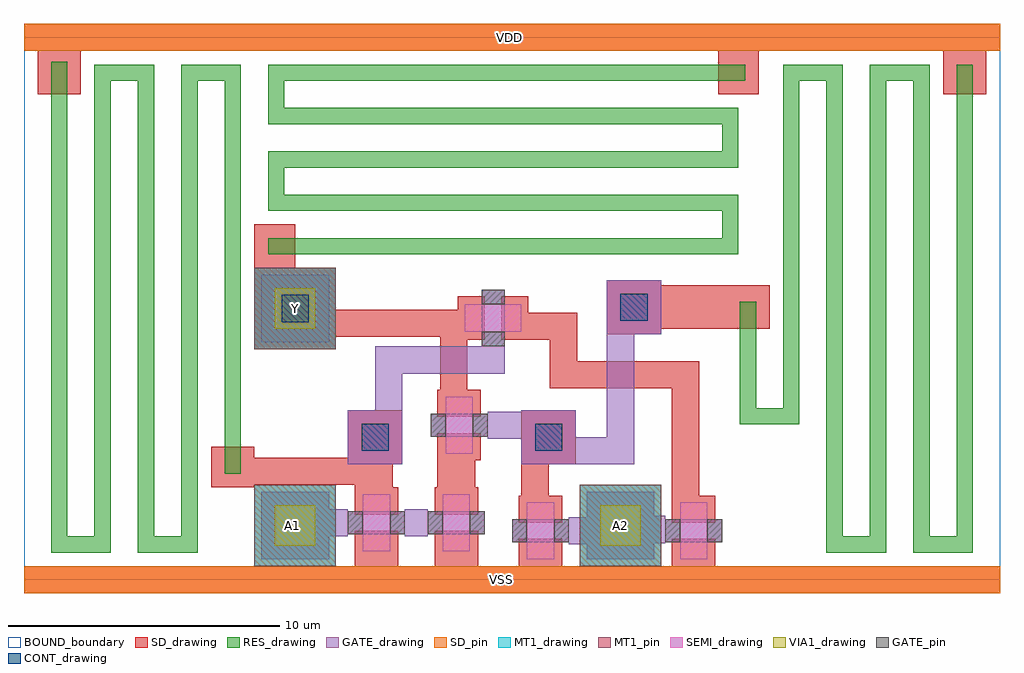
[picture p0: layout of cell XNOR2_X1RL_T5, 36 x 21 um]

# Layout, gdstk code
from math import pi, radians
import gdstk
lib = gdstk.Library(unit=1e-6, precision=1e-09)
def R(c, l, rs):  # rectangles x0, y0, x1, y1
    for r in rs: c.add(gdstk.rectangle(r[:2], r[2:], *l))
def P(c, l, *ps):  # polygons
    for p in ps: c.add(gdstk.Polygon(p, *l))
RES_drawing = (1, 0)
SEMI_drawing = (3, 0)
SD_drawing = (10, 0)
SD_pin = (10, 3)
GATE_drawing = (11, 0)
GATE_pin = (11, 3)
MT1_drawing = (20, 0)
MT1_pin = (20, 3)
CONT_drawing = (30, 0)
VIA1_drawing = (41, 0)
BOUND_boundary = (150, 5)

nch_cdns_772545164880 = lib.new_cell('nch_CDNS_772545164880')
R(nch_cdns_772545164880, SEMI_drawing, [(-1.05,-0.5,1.05,0.5)])
R(nch_cdns_772545164880, SD_drawing, [(-1.3,-0.8,-0.3,0.8), (0.3,-0.8,1.3,0.8)])
R(nch_cdns_772545164880, GATE_drawing, [(-0.425,-1.05,0.425,1.05)])
R(nch_cdns_772545164880, GATE_pin, [(-0.425,-1.05,0.425,-0.5), (-0.425,0.5,0.425,1.05)])

gate_mt1_cdns_7725451648 = lib.new_cell('GATE_MT1_CDNS_772545164880')
R(gate_mt1_cdns_7725451648, GATE_drawing, [(-1.25,-1.25,1.25,1.25)])
R(gate_mt1_cdns_7725451648, MT1_drawing, [(-1.25,-1.25,1.25,1.25)])
R(gate_mt1_cdns_7725451648, VIA1_drawing, [(-0.75,-0.75,0.75,0.75)])

sd_gate_cdns_77254516488 = lib.new_cell('SD_GATE_CDNS_772545164881')
R(sd_gate_cdns_77254516488, SD_drawing, [(-1,-1,1,1)])
R(sd_gate_cdns_77254516488, GATE_drawing, [(-1,-1,1,1)])
R(sd_gate_cdns_77254516488, CONT_drawing, [(-0.5,-0.5,0.5,0.5)])

xnor2_x1rl_t5 = lib.new_cell('XNOR2_X1RL_T5')
R(xnor2_x1rl_t5, SD_drawing, [(8.5,8.5,11.5,11.5), (21.5,9.25,27.5,10.85), (8.5,11.5,10,13.1), (0.5,17.9,2.1,19.5), (25.6,17.9,27.1,19.5), (33.9,17.9,35.5,19.5)])
R(xnor2_x1rl_t5, SD_pin, [(0,-0.5,36,0.5), (0,19.5,36,20.5)])
P(xnor2_x1rl_t5, GATE_drawing, [(17.2,6.2),(17.2,5.2),(17.1,5.2),(17.1,5.325),(17.05,5.325),(17.05,6.075),(17.1,6.075),(17.1,6.2)],
  [(17.725,8.5),(16.85,8.5),(16.85,8.6),(16.975,8.6),(16.975,8.65),(17.725,8.65)],
  [(20.2,2.3),(20.2,1.3),(20.1,1.3),(20.1,1.425),(20.05,1.425),(20.05,2.175),(20.1,2.175),(20.1,2.3)],
  [(23.55,2.35),(23.55,1.35),(23.65,1.35),(23.65,1.425),(23.7,1.425),(23.7,2.175),(23.65,2.175),(23.65,2.35)],
  [(11.85,2.6),(11.85,1.6),(11.95,1.6),(11.95,1.725),(12,1.725),(12,2.475),(11.95,2.475),(11.95,2.6)])
R(xnor2_x1rl_t5, MT1_drawing, [(8.5,0.5,11.5,3.5), (8.5,0.5,11.5,3.5), (20.5,0.5,23.5,3.5), (8.5,8.5,11.5,11.5)])
R(xnor2_x1rl_t5, MT1_pin, [(8.5,0.5,11.5,3.5), (20.5,0.5,23.5,3.5), (8.5,8.5,11.5,11.5)])
R(xnor2_x1rl_t5, BOUND_boundary, [(0,0,36,20)])
xnor2_x1rl_t5.add(gdstk.FlexPath([(18.6,9.35),(19.9,9.35)], 1, ends=(0, 0.5), simple_path=True, layer=10, datatype=0))  # SD_drawing
xnor2_x1rl_t5.add(gdstk.FlexPath([(19.9,9.35),(19.9,7.55)], 1, ends="extended", simple_path=True, layer=10, datatype=0))  # SD_drawing
xnor2_x1rl_t5.add(gdstk.FlexPath([(13,0),(13,-0.5)], 1.6, ends=(0.5, 0), simple_path=True, layer=10, datatype=0))  # SD_drawing
xnor2_x1rl_t5.add(gdstk.FlexPath([(11.5,9.45),(16,9.45)], 1, ends="flush", simple_path=True, layer=10, datatype=0))  # SD_drawing
xnor2_x1rl_t5.add(gdstk.FlexPath([(19.9,7.55),(24.4,7.55)], 1, ends="extended", simple_path=True, layer=10, datatype=0))  # SD_drawing
xnor2_x1rl_t5.add(gdstk.FlexPath([(24.4,7.55),(24.4,3.1)], 1, ends=(0.5, 0), simple_path=True, layer=10, datatype=0))  # SD_drawing
xnor2_x1rl_t5.add(gdstk.FlexPath([(8.5,4),(12.25,4)], 1, ends="flush", simple_path=True, layer=10, datatype=0))  # SD_drawing
xnor2_x1rl_t5.add(gdstk.FlexPath([(6.9,4.15),(8.5,4.15)], 1.5, ends="flush", simple_path=True, layer=10, datatype=0))  # SD_drawing
xnor2_x1rl_t5.add(gdstk.FlexPath([(15.95,3.4),(15.95,4.4)], 1.4, ends="flush", simple_path=True, layer=10, datatype=0))  # SD_drawing
xnor2_x1rl_t5.add(gdstk.FlexPath([(13,0),(36,0)], 1, ends=(0.8, 0), simple_path=True, layer=10, datatype=0))  # SD_drawing
xnor2_x1rl_t5.add(gdstk.FlexPath([(12.9,3.4),(12.9,4.4)], 1.4, ends="flush", simple_path=True, layer=10, datatype=0))  # SD_drawing
xnor2_x1rl_t5.add(gdstk.FlexPath([(18.85,5.25),(18.85,3.1)], 1, ends="flush", simple_path=True, layer=10, datatype=0))  # SD_drawing
xnor2_x1rl_t5.add(gdstk.FlexPath([(15.95,0.8),(15.95,-0.5)], 1.6, ends="flush", simple_path=True, layer=10, datatype=0))  # SD_drawing
xnor2_x1rl_t5.add(gdstk.FlexPath([(13,0.8),(13,0)], 1.6, ends=(0, 0.5), simple_path=True, layer=10, datatype=0))  # SD_drawing
xnor2_x1rl_t5.add(gdstk.FlexPath([(15.85,8.95),(15.85,7)], 1, ends="flush", simple_path=True, layer=10, datatype=0))  # SD_drawing
xnor2_x1rl_t5.add(gdstk.FlexPath([(0,20),(36,20)], 1, ends="flush", simple_path=True, layer=10, datatype=0))  # SD_drawing
xnor2_x1rl_t5.add(gdstk.FlexPath([(0,0),(13,0)], 1, ends=(0, 0.8), simple_path=True, layer=10, datatype=0))  # SD_drawing
xnor2_x1rl_t5.add(gdstk.FlexPath([(22,10.15),(23.5,10.15)], 1, ends=(0.5, 0), simple_path=True, layer=11, datatype=0))  # GATE_drawing
xnor2_x1rl_t5.add(gdstk.FlexPath([(20.35,4.75),(22,4.75)], 1, ends=(0, 0.5), simple_path=True, layer=11, datatype=0))  # GATE_drawing
xnor2_x1rl_t5.add(gdstk.FlexPath([(17.725,8.1),(13.45,8.1)], 1, ends=(0, 0.5), simple_path=True, layer=11, datatype=0))  # GATE_drawing
xnor2_x1rl_t5.add(gdstk.FlexPath([(13.45,8.1),(13.45,5.6)], 1, ends=(0.5, 0), simple_path=True, layer=11, datatype=0))  # GATE_drawing
xnor2_x1rl_t5.add(gdstk.FlexPath([(22,4.75),(22,10.15)], 1, ends="extended", simple_path=True, layer=11, datatype=0))  # GATE_drawing
xnor2_x1rl_t5.add(gdstk.FlexPath([(17.2,5.7),(18.85,5.7)], 1, ends="flush", simple_path=True, layer=11, datatype=0))  # GATE_drawing
xnor2_x1rl_t5.add(gdstk.FlexPath([(14.05,2.1),(14.9,2.1)], 1, ends="flush", simple_path=True, layer=11, datatype=0))  # GATE_drawing
xnor2_x1rl_t5.add(gdstk.FlexPath([(11.85,2.1),(11.7,2.1)], 1, ends=(0, 0.5), simple_path=True, layer=11, datatype=0))  # GATE_drawing
xnor2_x1rl_t5.add(gdstk.FlexPath([(23.25,1.85),(23.55,1.85)], 1, ends="flush", simple_path=True, layer=11, datatype=0))  # GATE_drawing
xnor2_x1rl_t5.add(gdstk.FlexPath([(20.2,1.8),(20.25,1.8)], 1, ends=(0, 0.5), simple_path=True, layer=11, datatype=0))  # GATE_drawing
xnor2_x1rl_t5.add(gdstk.FlexPath([(1.3,19.1),(1.3,1.3),(2.9,1.3),(2.9,18.7),(4.5,18.7),(4.5,1.3),(6.1,1.3),(6.1,18.7),(7.7,18.7),(7.7,3.9)], 0.6, ends="flush", simple_path=True, layer=1, datatype=0))  # RES_drawing
xnor2_x1rl_t5.add(gdstk.FlexPath([(26.6,18.7),(9.3,18.7),(9.3,17.1),(26.05,17.1),(26.05,15.5),(9.3,15.5),(9.3,13.9),(26.05,13.9),(26.05,12.3),(9.3,12.3)], 0.6, ends=(0, 0.3), simple_path=True, layer=1, datatype=0))  # RES_drawing
xnor2_x1rl_t5.add(gdstk.FlexPath([(26.7,10.25),(26.7,6.025),(28.3,6.025),(28.3,18.7),(29.9,18.7),(29.9,1.3),(31.5,1.3),(31.5,18.7),(33.1,18.7),(33.1,1.3),(34.7,1.3),(34.7,19)], 0.6, ends="flush", simple_path=True, layer=1, datatype=0))  # RES_drawing
xnor2_x1rl_t5.add(gdstk.Reference(nch_cdns_772545164880, (19.05,1.8), rotation=pi/2))
xnor2_x1rl_t5.add(gdstk.Reference(nch_cdns_772545164880, (13,2.1), rotation=pi/2))
xnor2_x1rl_t5.add(gdstk.Reference(nch_cdns_772545164880, (15.95,2.1), rotation=pi/2))
xnor2_x1rl_t5.add(gdstk.Reference(nch_cdns_772545164880, (24.7,1.8), rotation=pi/2))
xnor2_x1rl_t5.add(gdstk.Reference(nch_cdns_772545164880, (17.3,9.65), rotation=pi))
xnor2_x1rl_t5.add(gdstk.Reference(nch_cdns_772545164880, (16.05,5.7), rotation=3*pi/2))
xnor2_x1rl_t5.add(gdstk.Reference(gate_mt1_cdns_7725451648, (10,10), rotation=pi, x_reflection=True))
xnor2_x1rl_t5.add(gdstk.Reference(gate_mt1_cdns_7725451648, (10,10)))
xnor2_x1rl_t5.add(gdstk.Reference(gate_mt1_cdns_7725451648, (10,2), rotation=pi, x_reflection=True))
xnor2_x1rl_t5.add(gdstk.Reference(gate_mt1_cdns_7725451648, (22,2), rotation=pi, x_reflection=True))
xnor2_x1rl_t5.add(gdstk.Reference(sd_gate_cdns_77254516488, (22.5,10.05)))
xnor2_x1rl_t5.add(gdstk.Reference(sd_gate_cdns_77254516488, (19.35,5.25)))
xnor2_x1rl_t5.add(gdstk.Reference(sd_gate_cdns_77254516488, (12.95,5.25)))
xnor2_x1rl_t5.add(gdstk.Reference(sd_gate_cdns_77254516488, (10,10)))
xnor2_x1rl_t5.add(gdstk.Label('A1', (9.9,2), layer=20, texttype=3))
xnor2_x1rl_t5.add(gdstk.Label('A2', (22,2), layer=20, texttype=3))
xnor2_x1rl_t5.add(gdstk.Label('A1', (9.9,2), layer=20, texttype=3))
xnor2_x1rl_t5.add(gdstk.Label('Y', (10,10), layer=20, texttype=3))
xnor2_x1rl_t5.add(gdstk.Label('VSS', (17.6,0), layer=10, texttype=3))
xnor2_x1rl_t5.add(gdstk.Label('VDD', (17.9,20), layer=10, texttype=3))

lib.write_gds('XNOR2_X1RL_T5.gds')
